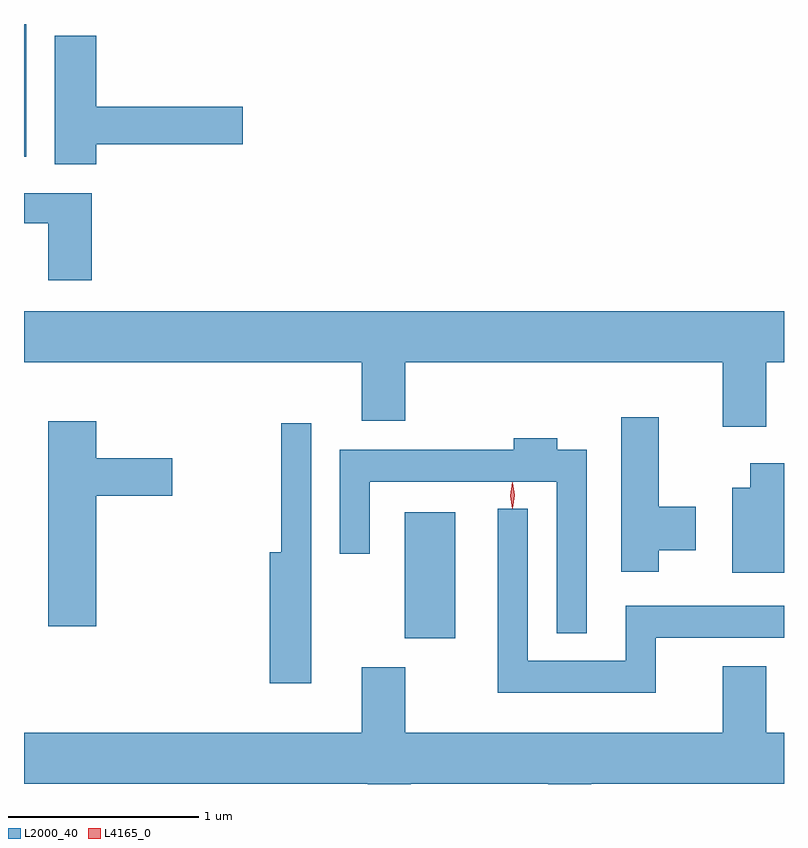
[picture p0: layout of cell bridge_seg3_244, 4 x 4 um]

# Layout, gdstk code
import gdstk
lib = gdstk.Library(unit=1e-6, precision=1e-09)
def R(c, l, rs):  # rectangles x0, y0, x1, y1
    for r in rs: c.add(gdstk.rectangle(r[:2], r[2:], *l))
def P(c, l, *ps):  # polygons
    for p in ps: c.add(gdstk.Polygon(p, *l))
L2000_40 = (2000, 40)
L4165_0 = (4165, 0)

bridge_seg3_244 = lib.new_cell('bridge_seg3_244')
R(bridge_seg3_244, L2000_40, [(1005.956,1142.321,1006.224,1142.984), (1003.953,1144.856,1003.964,1145.555)])
P(bridge_seg3_244, L2000_40, [(1004.334,1144.921),(1005.104,1144.921),(1005.104,1145.119),(1004.334,1145.119),(1004.334,1145.494),(1004.116,1145.494),(1004.116,1144.816),(1004.334,1144.816)],
  [(1004.309,1144.664),(1003.953,1144.664),(1003.953,1144.506),(1004.081,1144.506),(1004.081,1144.206),(1004.309,1144.206)],
  [(1007.859,1143.776),(1007.953,1143.776),(1007.953,1144.044),(1003.953,1144.044),(1003.953,1143.776),(1005.731,1143.776),(1005.731,1143.466),(1005.959,1143.466),(1005.959,1143.776),(1007.631,1143.776),(1007.631,1143.436),(1007.859,1143.436)],
  [(1007.294,1142.786),(1007.489,1142.786),(1007.489,1143.014),(1007.294,1143.014),(1007.294,1143.484),(1007.096,1143.484),(1007.096,1142.671),(1007.294,1142.671)],
  [(1004.334,1143.071),(1004.734,1143.071),(1004.734,1143.269),(1004.334,1143.269),(1004.334,1143.464),(1004.081,1143.464),(1004.081,1142.386),(1004.334,1142.386)],
  [(1005.464,1143.453),(1005.306,1143.453),(1005.306,1142.774),(1005.246,1142.774),(1005.246,1142.086),(1005.464,1142.086)],
  [(1006.914,1143.314),(1006.759,1143.314),(1006.759,1143.374),(1006.531,1143.374),(1006.531,1143.314),(1005.616,1143.314),(1005.616,1142.768),(1005.774,1142.768),(1005.774,1143.146),(1006.756,1143.146),(1006.756,1142.348),(1006.914,1142.348)],
  [(1007.953,1143.244),(1007.776,1143.244),(1007.776,1143.114),(1007.681,1143.114),(1007.681,1142.666),(1007.953,1142.666)],
  [(1007.279,1142.326),(1007.953,1142.326),(1007.953,1142.494),(1007.121,1142.494),(1007.121,1142.204),(1006.604,1142.204),(1006.604,1143.003),(1006.446,1143.003),(1006.446,1142.036),(1007.279,1142.036)],
  [(1005.989,1141.556),(1006.711,1141.556),(1006.711,1141.555),(1006.939,1141.555),(1006.939,1141.556),(1007.953,1141.556),(1007.953,1141.824),(1007.859,1141.824),(1007.859,1142.174),(1007.631,1142.174),(1007.631,1141.824),(1005.959,1141.824),(1005.959,1142.169),(1005.731,1142.169),(1005.731,1141.824),(1003.953,1141.824),(1003.953,1141.556),(1005.761,1141.556),(1005.761,1141.555),(1005.989,1141.555)])
P(bridge_seg3_244, L4165_0, [(1006.522,1143.004),(1006.522,1143.004),(1006.512,1143.073),(1006.522,1143.142),(1006.522,1143.143),(1006.523,1143.142),(1006.532,1143.073),(1006.523,1143.004)],
  [(1006.524,1143.007),(1006.515,1143.074),(1006.524,1143.14),(1006.525,1143.141),(1006.525,1143.14),(1006.535,1143.074),(1006.525,1143.007),(1006.525,1143.007)])

lib.write_gds('bridge_seg3_244.gds')
